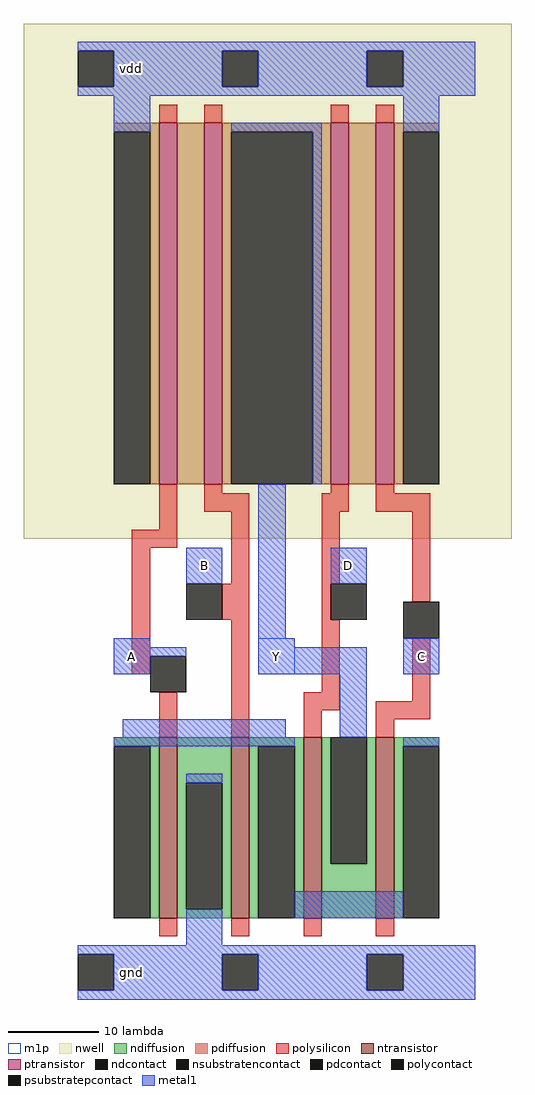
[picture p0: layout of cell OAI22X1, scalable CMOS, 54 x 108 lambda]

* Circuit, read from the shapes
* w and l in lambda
.subckt OAI22X1 A B C D Y gnd vdd
M1 gnd A n1 gnd nfet w=20 l=2
M2 n1 B gnd gnd nfet w=20 l=2
M3 Y D n1 gnd nfet w=20 l=2
M4 n1 C Y gnd nfet w=20 l=2
M5 n2 A vdd vdd pfet w=40 l=2
M6 Y B n2 vdd pfet w=40 l=2
M7 n3 D Y vdd pfet w=40 l=2
M8 vdd C n3 vdd pfet w=40 l=2
.ends

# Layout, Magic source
magic
tech scmos
<< nwell >>
rect -8 48 46 105
<< ntransistor >>
rect 7 6 9 26
rect 15 6 17 26
rect 23 6 25 26
rect 31 6 33 26
<< ptransistor >>
rect 7 54 9 94
rect 12 54 14 94
rect 26 54 28 94
rect 31 54 33 94
<< ndiffusion >>
rect 2 25 7 26
rect 6 6 7 25
rect 9 21 15 26
rect 9 7 10 21
rect 14 7 15 21
rect 9 6 15 7
rect 17 25 23 26
rect 17 6 18 25
rect 22 6 23 25
rect 25 12 26 26
rect 30 12 31 26
rect 25 6 31 12
rect 33 25 38 26
rect 33 6 34 25
<< pdiffusion >>
rect 2 93 7 94
rect 6 54 7 93
rect 9 54 12 94
rect 14 93 26 94
rect 14 54 15 93
rect 24 54 26 93
rect 28 54 31 94
rect 33 93 38 94
rect 33 54 34 93
<< ndcontact >>
rect 2 6 6 25
rect 10 7 14 21
rect 18 6 22 25
rect 26 12 30 26
rect 34 6 38 25
<< pdcontact >>
rect 2 54 6 93
rect 15 54 24 93
rect 34 54 38 93
<< psubstratepcontact >>
rect -2 -2 2 2
rect 14 -2 18 2
rect 30 -2 34 2
<< nsubstratencontact >>
rect -2 98 2 102
rect 14 98 18 102
rect 30 98 34 102
<< polysilicon >>
rect 7 94 9 96
rect 12 94 14 96
rect 26 94 28 96
rect 31 94 33 96
rect 7 49 9 54
rect 12 53 14 54
rect 26 53 28 54
rect 12 51 17 53
rect 4 47 9 49
rect 4 33 6 47
rect 15 43 17 51
rect 14 39 17 43
rect 7 26 9 31
rect 15 26 17 39
rect 25 51 28 53
rect 31 53 33 54
rect 31 51 37 53
rect 25 43 27 51
rect 25 39 26 43
rect 35 41 37 51
rect 25 31 27 39
rect 23 29 27 31
rect 35 30 37 37
rect 23 26 25 29
rect 31 28 37 30
rect 31 26 33 28
rect 7 4 9 6
rect 15 4 17 6
rect 23 4 25 6
rect 31 4 33 6
<< polycontact >>
rect 10 39 14 43
rect 6 31 10 35
rect 26 39 30 43
rect 34 37 38 41
<< metal1 >>
rect -2 102 42 103
rect 2 98 14 102
rect 18 98 30 102
rect 34 98 42 102
rect -2 97 42 98
rect 2 93 6 97
rect 15 93 25 94
rect 24 54 25 93
rect 34 93 38 97
rect 10 43 14 47
rect 18 37 21 54
rect 26 43 30 47
rect 2 36 6 37
rect 18 36 22 37
rect 2 35 10 36
rect 2 33 6 35
rect 18 33 30 36
rect 34 33 38 37
rect 3 26 21 28
rect 27 26 30 33
rect 2 25 22 26
rect 10 21 14 22
rect 10 3 14 7
rect 34 25 38 26
rect 22 6 34 9
rect -2 2 42 3
rect 2 -2 14 2
rect 18 -2 30 2
rect 34 -2 42 2
rect -2 -3 42 -2
<< m1p >>
rect 10 43 14 47
rect 26 43 30 47
rect 2 33 6 37
rect 18 33 22 37
rect 34 33 38 37
<< labels >>
rlabel metal1 4 0 4 0 4 gnd
rlabel metal1 4 100 4 100 4 vdd
rlabel metal1 28 45 28 45 4 D
rlabel metal1 36 35 36 35 4 C
rlabel metal1 4 35 4 35 4 A
rlabel metal1 12 45 12 45 4 B
rlabel metal1 20 35 20 35 4 Y
<< end >>
